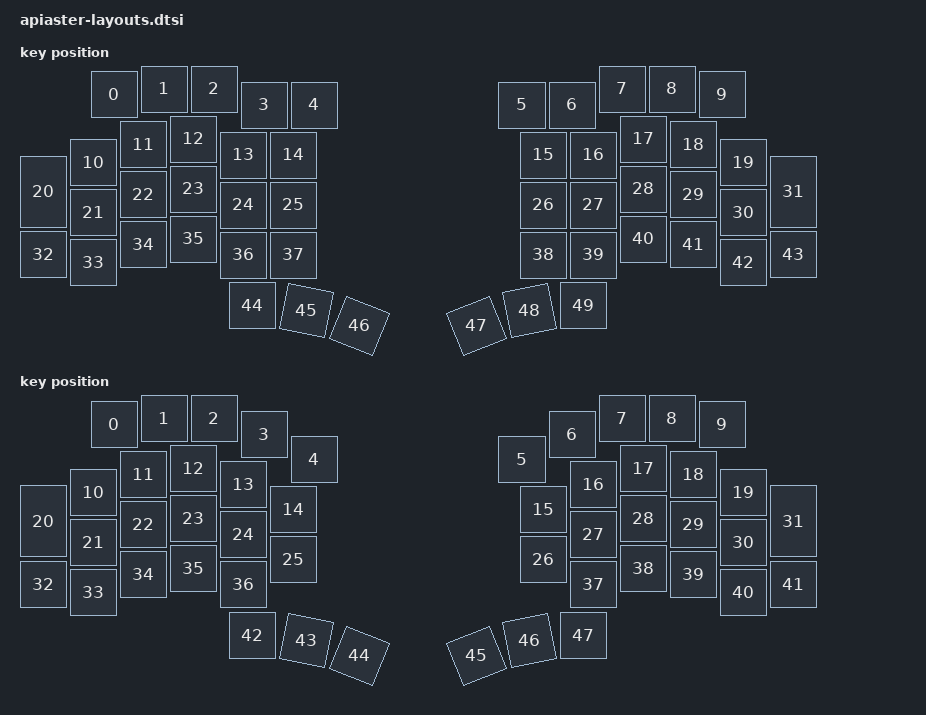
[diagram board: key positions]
#include <physical_layouts.dtsi>

/{ 
    physical_layout0: physical_layout_0 {
        compatible = "zmk,physical-layout";
        display-name = "Default Layout";

        kscan = <&kscan0>;
        transform = <&matrix_transform0>;

        keys  //                     w   h    x    y     rot    rx    ry
            = <&key_physical_attrs 100 100  142   11       0     0     0>
            , <&key_physical_attrs 100 100  242    0       0     0     0>
            , <&key_physical_attrs 100 100  342    0       0     0     0>
            , <&key_physical_attrs 100 100  442   32       0     0     0>
            , <&key_physical_attrs 100 100  542   32       0     0     0>
            , <&key_physical_attrs 100 100  958   32       0     0     0>
            , <&key_physical_attrs 100 100 1058   32       0     0     0>
            , <&key_physical_attrs 100 100 1158    0       0     0     0>
            , <&key_physical_attrs 100 100 1258    0       0     0     0>
            , <&key_physical_attrs 100 100 1358   11       0     0     0>
            , <&key_physical_attrs 100 100  100  147       0     0     0>
            , <&key_physical_attrs 100 100  200  111       0     0     0>
            , <&key_physical_attrs 100 100  300  100       0     0     0>
            , <&key_physical_attrs 100 100  400  132       0     0     0>
            , <&key_physical_attrs 100 100  500  132       0     0     0>
            , <&key_physical_attrs 100 100 1000  132       0     0     0>
            , <&key_physical_attrs 100 100 1100  132       0     0     0>
            , <&key_physical_attrs 100 100 1200  100       0     0     0>
            , <&key_physical_attrs 100 100 1300  111       0     0     0>
            , <&key_physical_attrs 100 100 1400  147       0     0     0>
            , <&key_physical_attrs 100 150    0  180       0     0     0>
            , <&key_physical_attrs 100 100  100  247       0     0     0>
            , <&key_physical_attrs 100 100  200  211       0     0     0>
            , <&key_physical_attrs 100 100  300  200       0     0     0>
            , <&key_physical_attrs 100 100  400  232       0     0     0>
            , <&key_physical_attrs 100 100  500  232       0     0     0>
            , <&key_physical_attrs 100 100 1000  232       0     0     0>
            , <&key_physical_attrs 100 100 1100  232       0     0     0>
            , <&key_physical_attrs 100 100 1200  200       0     0     0>
            , <&key_physical_attrs 100 100 1300  211       0     0     0>
            , <&key_physical_attrs 100 100 1400  247       0     0     0>
            , <&key_physical_attrs 100 150 1500  180       0     0     0>
            , <&key_physical_attrs 100 100    0  331       0     0     0>
            , <&key_physical_attrs 100 100  100  347       0     0     0>
            , <&key_physical_attrs 100 100  200  311       0     0     0>
            , <&key_physical_attrs 100 100  300  300       0     0     0>
            , <&key_physical_attrs 100 100  400  332       0     0     0>
            , <&key_physical_attrs 100 100  500  332       0     0     0>
            , <&key_physical_attrs 100 100 1000  332       0     0     0>
            , <&key_physical_attrs 100 100 1100  332       0     0     0>
            , <&key_physical_attrs 100 100 1200  300       0     0     0>
            , <&key_physical_attrs 100 100 1300  311       0     0     0>
            , <&key_physical_attrs 100 100 1400  347       0     0     0>
            , <&key_physical_attrs 100 100 1500  331       0     0     0>
            , <&key_physical_attrs 100 100  419  433       0     0     0>
            , <&key_physical_attrs 100 100  538  435    1100   538   435>
            , <&key_physical_attrs 100 100  655  459    2200   655   459>
            , <&key_physical_attrs 100 100  845  459 (-2200)   945   459>
            , <&key_physical_attrs 100 100  962  435 (-1100)  1062   435>
            , <&key_physical_attrs 100 100 1081  433       0     0     0>
            ;
    };

    physical_layout1: physical_layout_1 {
        compatible = "zmk,physical-layout";
        display-name = "Reduced Inner Index Layout";

        kscan = <&kscan0>;
        transform = <&matrix_transform1>;

        keys  //                     w   h    x    y     rot    rx    ry
            = <&key_physical_attrs 100 100  142   11       0     0     0>
            , <&key_physical_attrs 100 100  242    0       0     0     0>
            , <&key_physical_attrs 100 100  342    0       0     0     0>
            , <&key_physical_attrs 100 100  442   32       0     0     0>
            , <&key_physical_attrs 100 100  542   82       0     0     0>
            , <&key_physical_attrs 100 100  958   82       0     0     0>
            , <&key_physical_attrs 100 100 1058   32       0     0     0>
            , <&key_physical_attrs 100 100 1158    0       0     0     0>
            , <&key_physical_attrs 100 100 1258    0       0     0     0>
            , <&key_physical_attrs 100 100 1358   11       0     0     0>
            , <&key_physical_attrs 100 100  100  147       0     0     0>
            , <&key_physical_attrs 100 100  200  111       0     0     0>
            , <&key_physical_attrs 100 100  300  100       0     0     0>
            , <&key_physical_attrs 100 100  400  132       0     0     0>
            , <&key_physical_attrs 100 100  500  182       0     0     0>
            , <&key_physical_attrs 100 100 1000  182       0     0     0>
            , <&key_physical_attrs 100 100 1100  132       0     0     0>
            , <&key_physical_attrs 100 100 1200  100       0     0     0>
            , <&key_physical_attrs 100 100 1300  111       0     0     0>
            , <&key_physical_attrs 100 100 1400  147       0     0     0>
            , <&key_physical_attrs 100 150    0  180       0     0     0>
            , <&key_physical_attrs 100 100  100  247       0     0     0>
            , <&key_physical_attrs 100 100  200  211       0     0     0>
            , <&key_physical_attrs 100 100  300  200       0     0     0>
            , <&key_physical_attrs 100 100  400  232       0     0     0>
            , <&key_physical_attrs 100 100  500  282       0     0     0>
            , <&key_physical_attrs 100 100 1000  282       0     0     0>
            , <&key_physical_attrs 100 100 1100  232       0     0     0>
            , <&key_physical_attrs 100 100 1200  200       0     0     0>
            , <&key_physical_attrs 100 100 1300  211       0     0     0>
            , <&key_physical_attrs 100 100 1400  247       0     0     0>
            , <&key_physical_attrs 100 150 1500  180       0     0     0>
            , <&key_physical_attrs 100 100    0  331       0     0     0>
            , <&key_physical_attrs 100 100  100  347       0     0     0>
            , <&key_physical_attrs 100 100  200  311       0     0     0>
            , <&key_physical_attrs 100 100  300  300       0     0     0>
            , <&key_physical_attrs 100 100  400  332       0     0     0>
            , <&key_physical_attrs 100 100 1100  332       0     0     0>
            , <&key_physical_attrs 100 100 1200  300       0     0     0>
            , <&key_physical_attrs 100 100 1300  311       0     0     0>
            , <&key_physical_attrs 100 100 1400  347       0     0     0>
            , <&key_physical_attrs 100 100 1500  331       0     0     0>
            , <&key_physical_attrs 100 100  419  433       0     0     0>
            , <&key_physical_attrs 100 100  538  435    1100   538   435>
            , <&key_physical_attrs 100 100  655  459    2200   655   459>
            , <&key_physical_attrs 100 100  845  459 (-2200)   945   459>
            , <&key_physical_attrs 100 100  962  435 (-1100)  1062   435>
            , <&key_physical_attrs 100 100 1081  433       0     0     0>
            ;
    };

    position_map {
        compatible = "zmk,physical-layout-position-map";

        physical_layout0 {
            physical-layout = <&physical_layout0>;
            positions = < 4  5 14 15 20 31 25 37 26 38 32 43>;
        };

        physical_layout1 {
            physical-layout = <&physical_layout1>;
            positions = < 4  5 20 31 32 41 14 25 15 26 48 49>;
        };
    };
};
